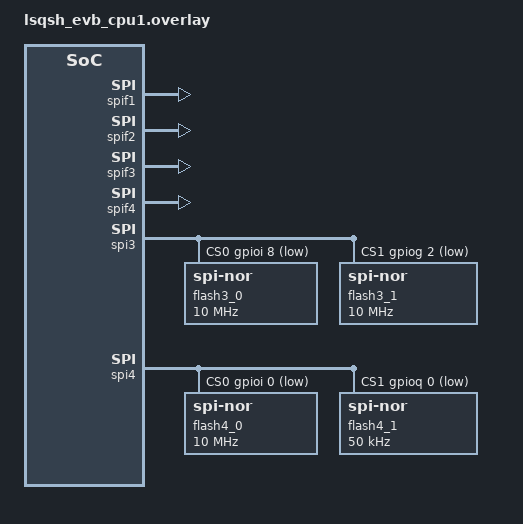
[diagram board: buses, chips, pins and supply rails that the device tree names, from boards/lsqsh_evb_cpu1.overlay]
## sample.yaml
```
sample:
  description: spi_monitor_high_bit_ignore sample, the simplest Zephyr
    application
  name: spi_monitor_high_bit_ignore
common:
  tags: introduction
  integration_platforms:
    - native_sim
  harness: console
  harness_config:
    type: one_line
    regex:
      - "spi_monitor_high_bit_ignore! (.*)"
tests:
  sample.basic.helloworld:
    tags: introduction
```

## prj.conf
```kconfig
CONFIG_SPI_FILTER_LINKEDSEMI=y
CONFIG_SPI=y
CONFIG_FLASH=y
# CONFIG_LOG_MODE_IMMEDIATE=y
CONFIG_SHELL=n
CONFIG_FLASH_SHELL=n
CONFIG_DMA=y

CONFIG_LOG=y
CONFIG_LOG_BUFFER_SIZE=65536
CONFIG_SHELL_BACKEND_SERIAL_LOG_MESSAGE_QUEUE_SIZE=40960
# CONFIG_LOG=n
# CONFIG_LOG_BUFFER_SIZE=1024
# CONFIG_SHELL_BACKEND_SERIAL_LOG_MESSAGE_QUEUE_SIZE=1024

# CONFIG_LOG_MODE_DEFERRED=n
# CONFIG_LOG_MODE_IMMEDIATE=y

CONFIG_FLASH_JESD216_API=y
CONFIG_SPI_EXTENDED_MODES=y

CONFIG_MAIN_STACK_SIZE=10240

CONFIG_IDLE_STACK_SIZE=512
CONFIG_TEST_EXTRA_STACK_SIZE=1536
CONFIG_SYSTEM_WORKQUEUE_STACK_SIZE=8192
CONFIG_ISR_STACK_SIZE=4096
CONFIG_PRIVILEGED_STACK_SIZE=4096
CONFIG_SHELL_STACK_SIZE=4096
CONFIG_LOG_PROCESS_THREAD_STACK_SIZE=4096

CONFIG_SPI_FILTER_INTERRUPT_LOG=y
CONFIG_SPI_FILTER_DMA_LOG=n

CONFIG_BUILD_OUTPUT_HEX=y#hex
CONFIG_LOG_MODE_DEFERRED=n
CONFIG_LOG_MODE_IMMEDIATE=y
```

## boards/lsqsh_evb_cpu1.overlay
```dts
#include "lsqsh_pinctrl_pfr_tpm.dtsi"

/ {
    aliases {
#if 1
        spifilter = &spif3;
        spifiltermaster = &spif1;
        spiflash = &flash3_0;
#else
        spifilter = &spif2;
        spifiltermaster = &spif4;
        spiflash = &flash4_1;
#endif
    };
};

&spif1 {
    status = "okay";
};

&spif2 {
    status = "okay";
};

&spif3 {
    cmd-page-program-quad-addr-quad-data =<0xc2>;
    cmd-quad-spi-mode-enter = <0x38>;
    cmd-quad-spi-mode-exit = <0xff>;
    status = "okay";
};

&spif4 {
    cmd-page-program-quad-addr-quad-data =<0xc2>;
    cmd-quad-spi-mode-enter = <0x38>;
    cmd-quad-spi-mode-exit = <0xff>;
    status = "okay";
};

&spi3 {
    cs-gpios = <&gpioi 8 GPIO_ACTIVE_LOW>,
                <&gpiog 2 GPIO_ACTIVE_LOW>;
    pinctrl-0 = <>;
    pinctrl-names = "default";
    //timing-calibration-disabled;
    dmas =<&dmac2 6 DMA_SPI3_RX>,<&dmac2 6 DMA_SPI3_TX>;
    dma-names ="rx","tx";
    status = "okay";

    flash3_0: flash3@0 {
        compatible = "jedec,spi-nor";
        reg = <0>;
        spi-max-frequency = <DT_FREQ_M(10)>;
        spi-max-buswidth = <4>;
        //spi-nor-caps-mask=<0x40000>;
        re-init-support;
    };
    flash3_1: flash3@1 {
        compatible = "jedec,spi-nor";
        reg = <1>;
        spi-max-frequency = <DT_FREQ_M(10)>;
        spi-max-buswidth = <4>;
        re-init-support;
    };
};

&spi4 {
    cs-gpios = <&gpioi 0 GPIO_ACTIVE_LOW>,
                <&gpioq 0 GPIO_ACTIVE_LOW>;
    pinctrl-0 = <>;
    pinctrl-names = "default";
    //timing-calibration-disabled;
    dmas =<&dmac2 6 DMA_SPI4_RX>,<&dmac2 6 DMA_SPI4_TX>;
    dma-names ="rx","tx";
    status = "okay";

    flash4_0: flash4@0 {
        compatible = "jedec,spi-nor";
        reg = <0>;
        spi-max-frequency = <DT_FREQ_M(10)>;
        spi-max-buswidth = <4>;
        re-init-support;
    };
    flash4_1: flash4@1 {
        compatible = "jedec,spi-nor";
        reg = <1>;
	spi-max-frequency = <50000>;
        spi-max-buswidth = <4>;
        re-init-support;
    };
};

&dmac1 {
    status = "okay";
};

&dmac2 {
    status = "okay";
};

#if 0
#undef SRAM_TOTAL_SIZE
#undef SRAM_RO_SIZE
#undef SRAM_RW_SIZE

#define SRAM_TOTAL_SIZE DT_SIZE_K(512 - 128)
#define SRAM_RO_SIZE    DT_SIZE_K(256 - 128)
#define SRAM_RW_SIZE    (SRAM_TOTAL_SIZE - SRAM_RO_SIZE)

&sram_ro {
    reg = <0x10020000 SRAM_RO_SIZE>;
};

&sram {
    reg = <(0x10020000 + SRAM_RO_SIZE) SRAM_RW_SIZE>;
};
#endif
```

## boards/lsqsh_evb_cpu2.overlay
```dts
#include "lsqsh_pinctrl_pfr_tpm.dtsi"

/ {
    aliases {
#if 1
        spifilter = &spif3;
        spifiltermaster = &spif1;
        spiflash = &flash3_0;
#else
        spifilter = &spif2;
        spifiltermaster = &spif4;
        spiflash = &flash4_1;
#endif
    };
};

&chosen {
    zephyr,flash-controller = &qspi1;
    zephyr,console = &uart5;
    zephyr,shell-uart = &uart5;
};

&spif1 {
    status = "okay";
};

&spif2 {
    status = "okay";
};

&spif3 {
    cmd-page-program-quad-addr-quad-data =<0xc2>;
    cmd-quad-spi-mode-enter = <0x38>;
    cmd-quad-spi-mode-exit = <0xff>;
    status = "okay";
};

&spif4 {
    cmd-page-program-quad-addr-quad-data =<0xc2>;
    cmd-quad-spi-mode-enter = <0x38>;
    cmd-quad-spi-mode-exit = <0xff>;
    status = "okay";
};

&spi3 {
    cs-gpios = <&gpioi 8 GPIO_ACTIVE_LOW>,
                <&gpiog 2 GPIO_ACTIVE_LOW>;
    pinctrl-0 = <>;
    pinctrl-names = "default";
    //timing-calibration-disabled;
    dmas =<&dmac2 6 DMA_SPI3_RX>,<&dmac2 6 DMA_SPI3_TX>;
    dma-names ="rx","tx";
    status = "okay";

    flash3_0: flash3@0 {
        compatible = "jedec,spi-nor";
        reg = <0>;
        spi-max-frequency = <DT_FREQ_M(10)>;
        spi-max-buswidth = <4>;
        //spi-nor-caps-mask=<0x40000>;
        re-init-support;
    };
    flash3_1: flash3@1 {
        compatible = "jedec,spi-nor";
        reg = <1>;
        spi-max-frequency = <DT_FREQ_M(10)>;
        spi-max-buswidth = <4>;
        re-init-support;
    };
};

&spi4 {
    cs-gpios = <&gpioi 0 GPIO_ACTIVE_LOW>,
                <&gpioq 0 GPIO_ACTIVE_LOW>;
    pinctrl-0 = <>;
    pinctrl-names = "default";
    //timing-calibration-disabled;
    dmas =<&dmac2 6 DMA_SPI4_RX>,<&dmac2 6 DMA_SPI4_TX>;
    dma-names ="rx","tx";
    status = "okay";

    flash4_0: flash4@0 {
        compatible = "jedec,spi-nor";
        reg = <0>;
        spi-max-frequency = <DT_FREQ_M(10)>;
        spi-max-buswidth = <4>;
        re-init-support;
    };
    flash4_1: flash4@1 {
        compatible = "jedec,spi-nor";
        reg = <1>;
	spi-max-frequency = <50000>;
        spi-max-buswidth = <4>;
        re-init-support;
    };
};

&dmac1 {
    status = "okay";
};

&dmac2 {
    status = "okay";
};
&pinctrl {
	/omit-if-no-ref/uart4_tx_pd11: uart4_tx_pd11 {
	pinmux = <UART4_TXD_FUNC1_IDX09_PINMUX_PD(11)>;
};

	/omit-if-no-ref/uart4_rx_pd12: uart4_rx_pd12 {
	pinmux = <UART4_RXD_FUNC1_IDX10_PINMUX_PD(12)>;
	input-enable;
};

	/omit-if-no-ref/uart5_tx_pn14: uart5_tx_pn14 {
	pinmux = <UART5_TXD_FUNC4_PN14_PINMUX>;
};
	/omit-if-no-ref/uart5_rx_pn13: uart5_rx_pn13 {
	pinmux = <UART5_RXD_FUNC4_PN13_PINMUX>;
	input-enable;
};

};

&uart4 {
	status = "okay";
	pinctrl-0 = <&uart4_tx_pd11 &uart4_rx_pd12>;
	pinctrl-names = "default";
};

#if 1
&uart5 {
	status = "okay";
	pinctrl-0 = <&uart5_tx_pn14 &uart5_rx_pn13>;
	pinctrl-names = "default";
};
#endif

#if 0
#undef SRAM_TOTAL_SIZE
#undef SRAM_RO_SIZE
#undef SRAM_RW_SIZE

#define SRAM_TOTAL_SIZE DT_SIZE_K(512 - 128)
#define SRAM_RO_SIZE    DT_SIZE_K(256 - 128)
#define SRAM_RW_SIZE    (SRAM_TOTAL_SIZE - SRAM_RO_SIZE)

&sram_ro {
    reg = <0x10020000 SRAM_RO_SIZE>;
};

&sram {
    reg = <(0x10020000 + SRAM_RO_SIZE) SRAM_RW_SIZE>;
};
#endif
```

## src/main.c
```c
/*
 * Copyright (c) 2024 Linkedsemi
 *
 * SPDX-License-Identifier: Apache-2.0
 */

#include "zephyr/sys/printk.h"
#include "zephyr/sys/util.h"
#include "zephyr/toolchain.h"
#include "zephyr/types.h"
#include <stdbool.h>
#include <stdint.h>
#if !defined(CONFIG_SPI_FILTER_LINKEDSEMI)
    #error no CONFIG_SPI_FILTER_LINKEDSEMI define
#endif

#include <zephyr/drivers/spi.h>
#include <zephyr/drivers/spi_nor.h>
#include <zephyr/kernel.h>
#include <stdlib.h>
#include <stdio.h>
#include <zephyr/kernel.h>
#include <zephyr/drivers/spi.h>
#include <zephyr/drivers/flash.h>
#include <reg_spi_filter.h>
#include <spi_filter.h>
#include <ls_soc_gpio.h>
#include <zephyr/logging/log.h>
#include <time.h>
#include <reg_ssi_type.h>
#include <platform.h>
#include <soc.h>

LOG_MODULE_REGISTER(spi_monitor_high_bit_ignore, LOG_LEVEL_INF);

#if 0
#include "/home/htliu/zephyr_work/modules/lib/pfr_tpm/drivers/pfr/spi/spi_filter.h"
#else
#define SPIF_LOG_RAM_MAX_SIZE_U32     1024
#endif

#define FLASH_ERASE_SIZE_MAIN 0x4000//16K 0X1000//4k
#define START_ADDR_0x40000  0x40000


int  test_spif(void)
{
	do {
		uint8_t id[3] = { 0 };
		const struct device *const flash_dev = DEVICE_DT_GET(DT_ALIAS(spiflash));
		// spi_nor_re_init(flash_dev);
		int rc = flash_read_jedec_id(flash_dev, id);
		DELAY_MS(10);
		if (rc == 0) {

			printk("jedec-id = [%02x %02x %02x];\n", id[0], id[1], id[2]);
		} else {
		printk("JEDEC ID read failed: %d\n", rc);
		}
	} while(0);

	return 0;
}



void clear_cmd_whitelist(const struct device *const spifilter)
{
	uint32_t cmd_num = 0;
	uint8_t cmd_table[SPIF_CMD_TABLE_NUM]={0};
	spif_get_cmd_table(spifilter, cmd_table, &cmd_num);
	DEV_INF(spifilter,"find %u num cmd:", cmd_num);
	for (int i = 0; i < SPIF_CMD_TABLE_NUM; i++) {
		if (cmd_table[i] != 0 && cmd_num>0) {
			spif_remove_cmd(spifilter, cmd_table[i]);
			DEV_INF(spifilter,"  pos %d: cmd 0x%02x", i, cmd_table[i]);
			cmd_num--;
		}
	}
}

void configure_address_protection(const struct device *spifilter,uint32_t start_addr,uint32_t protect_size)
{
	// Set address protection
	spif_address_privilege_config(spifilter, FLAG_ADDR_PRIV_READ_SELECT, FLAG_ADDR_PRIV_DISABLE, start_addr, protect_size);
	spif_address_privilege_config(spifilter, FLAG_ADDR_PRIV_WRITE_SELECT, FLAG_ADDR_PRIV_DISABLE, start_addr, protect_size);
}


void spi_monitor_high_bit(const struct device *const spifiltermaster,const struct device *const spifilter)
{

	spif_add_cmd(spifilter, 0x21);

	static const uint8_t send_data_0[] = {
		0x21,0xf0,0x04,0x00,0x00
	};

	configure_address_protection(spifilter,START_ADDR_0x40000,FLASH_ERASE_SIZE_MAIN);

	spif_dump_cmd_table(spifilter);
	spif_dump_rw_addr_privilege_table(spifilter);

	const struct device *spi_dev = spif_spi_dev(spifiltermaster);
	uint32_t freq = DT_PROP(DT_ALIAS(spiflash), spi_max_frequency);

	const struct spi_config spi_cfg = {
		.operation = SPI_OP_MODE_MASTER | SPI_WORD_SET(8) | SPI_TRANSFER_MSB,
		.frequency = freq,
		.cs = { .gpio = *(spif_spi_cs(spifiltermaster)), },
	};
#if 1
	int ret=0;
	struct spi_buf tx_buf_0 = {
		.buf = (uint8_t*)send_data_0,
		.len = sizeof(send_data_0),
	};

	const struct spi_buf_set tx_set_0 = { &tx_buf_0, 1 };

	ret = spi_transceive(spi_dev, &spi_cfg, &tx_set_0, NULL);

	if (ret < 0) {
		DEV_ERR(spi_dev,"send failed: %d",ret);
	}else{
		DEV_INF(spi_dev,"addr 0xf0040000 send ok");
	}


#if 1

	static const uint8_t send_data[] = {
		0x21,0xf0,0x00,0x00,0x00
	};
	struct spi_buf tx_buf = {
		.buf = (uint8_t*)send_data,
		.len = sizeof(send_data),
	};

	const struct spi_buf_set tx_set = { &tx_buf, 1 };

	ret = spi_transceive(spi_dev, &spi_cfg, &tx_set, NULL);

	if (ret < 0) {

		LOG_ERR("send failed: %d",ret);
	}else{
		DEV_INF(spi_dev,"addr 0xf0000000 send ok");
	}
#endif

#else

	for(int m=0;m<sizeof(send_data);m++){
		uint8_t tx =send_data[m];
		struct spi_buf tx_buf = {
			.buf = &tx,
			.len = sizeof(tx),
		};
		const struct spi_buf_set tx_set = { &tx_buf, 1 };
		int ret = spi_transceive(spi_dev, &spi_cfg, &tx_set, NULL);
		if (ret < 0) {
			LOG_ERR("data 0x%02X send failed: %d", tx, ret);
		}
	}

#endif

}

int main(void)
{

	const struct device *const spifilter = DEVICE_DT_GET(DT_ALIAS(spifilter));
	bool check;

	linkedsemi_spi_filter_cold_reset(spifilter);
	spif_memset_addr_whitelist(spifilter, 1);
	spif_flash_size_set(spifilter, MB(32));
	#if 0
	clear_cmd_whitelist(spifilter);
	#endif
	// spif_dump_cmd_table(spifilter);
	// spif_dump_rw_addr_privilege_table(spifilter);

#if defined(CONFIG_SPI_FILTER_DMA_LOG)
	spif_dma_start(spifilter);
#endif

	spif_filter_enable(spifilter, true);
	check = spif_pinctrl_filter_mode_check(spifilter);
	__ASSERT_NO_MSG(check);

	// spif_operation_mode_config(spifilter, true);//filter mode
	// printk("Switch to Filter mode (OPERATION_MODE=1)\n");

	spif_passthrough_analog_mux_enable(spifilter, true);
	check = spif_pinctrl_passthrough_mode_check(spifilter);
	__ASSERT_NO_MSG(check);

	const struct device *const spifiltermaster = DEVICE_DT_GET(DT_ALIAS(spifiltermaster));
	spif_switch_to_master(spifiltermaster);
	check = spif_pinctrl_master_mode_check(spifiltermaster);
	__ASSERT_NO_MSG(check);

	// spif_switch_to_master(spifilter);
	// check = spif_pinctrl_master_mode_check(spifilter);
	// __ASSERT_NO_MSG(check);

	spi_monitor_high_bit(spifiltermaster,spifilter);

	return 0;
}
```
